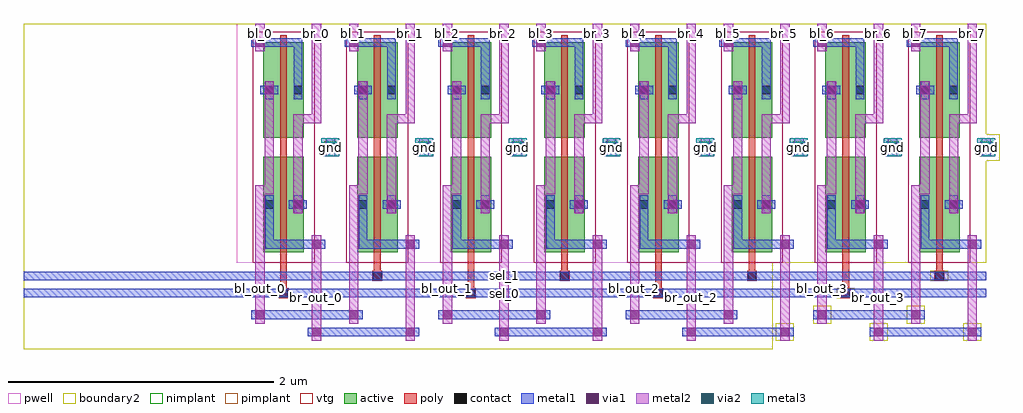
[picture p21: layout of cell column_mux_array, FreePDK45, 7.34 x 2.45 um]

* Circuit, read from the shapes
.subckt column_mux_array bl_0 bl_1 bl_2 bl_3 bl_4 bl_5 bl_6 bl_7 bl_out_0 bl_out_1 bl_out_2 bl_out_3 br_0 br_1 br_2 br_3 br_4 br_5 br_6 br_7 br_out_0 br_out_1 br_out_2 br_out_3 gnd sel_0 sel_1
M1 br_0 sel_0 br_out_0 gnd nfet w=0.72u l=0.05u
M2 bl_0 sel_0 bl_out_0 gnd nfet w=0.72u l=0.05u
M3 br_1 sel_1 br_out_0 gnd nfet w=0.72u l=0.05u
M4 bl_1 sel_1 bl_out_0 gnd nfet w=0.72u l=0.05u
M5 br_2 sel_0 br_out_1 gnd nfet w=0.72u l=0.05u
M6 bl_2 sel_0 bl_out_1 gnd nfet w=0.72u l=0.05u
M7 br_3 sel_1 br_out_1 gnd nfet w=0.72u l=0.05u
M8 bl_3 sel_1 bl_out_1 gnd nfet w=0.72u l=0.05u
M9 br_4 sel_0 br_out_2 gnd nfet w=0.72u l=0.05u
M10 bl_4 sel_0 bl_out_2 gnd nfet w=0.72u l=0.05u
M11 br_5 sel_1 br_out_2 gnd nfet w=0.72u l=0.05u
M12 bl_5 sel_1 bl_out_2 gnd nfet w=0.72u l=0.05u
M13 br_6 sel_0 br_out_3 gnd nfet w=0.72u l=0.05u
M14 bl_6 sel_0 bl_out_3 gnd nfet w=0.72u l=0.05u
M15 br_7 sel_1 br_out_3 gnd nfet w=0.72u l=0.05u
M16 bl_7 sel_1 bl_out_3 gnd nfet w=0.72u l=0.05u
.ends

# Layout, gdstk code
import gdstk
lib = gdstk.Library(unit=1e-6, precision=5e-10)
def R(c, l, rs):  # rectangles x0, y0, x1, y1
    for r in rs: c.add(gdstk.rectangle(r[:2], r[2:], *l))
def A(c, l, x, y, w, h, nx, ny, dx, dy):  # array of equal rectangles
    R(c, l, [(x+i*dx, y+j*dy, x+i*dx+w, y+j*dy+h) for i in range(nx) for j in range(ny)])
active = (1, 0)
pwell = (2, 0)
nimplant = (4, 0)
pimplant = (5, 0)
vtg = (6, 0)
poly = (9, 0)
contact = (10, 0)
metal1 = (11, 0)
via1 = (12, 0)
metal2 = (13, 0)
via2 = (14, 0)
metal3 = (15, 0)
boundary2 = (239, 0)

contact_10 = lib.new_cell('contact_10')
R(contact_10, active, [(0,0.0225,0.09,0.1125)])
R(contact_10, pwell, [(-0.055,-0.0325,0.145,0.1675)])
R(contact_10, nimplant, [(0,0.0225,0.09,0.1125)])
R(contact_10, contact, [(0.0125,0.035,0.0775,0.1)])
R(contact_10, metal1, [(0.0125,0,0.0775,0.135)])
R(contact_10, boundary2, [(-0.055,-0.0325,0.145,0.1675)])

nmos_m1_w0_720_sm1_dm1 = lib.new_cell('nmos_m1_w0_720_sm1_dm1')
R(nmos_m1_w0_720_sm1_dm1, active, [(0,0,0.305,0.72)])
R(nmos_m1_w0_720_sm1_dm1, pwell, [(-0.08,-0.08,0.385,0.8)])
R(nmos_m1_w0_720_sm1_dm1, nimplant, [(0,0,0.305,0.72)])
R(nmos_m1_w0_720_sm1_dm1, vtg, [(-0.08,-0.08,0.385,0.8)])
R(nmos_m1_w0_720_sm1_dm1, poly, [(0.1275,-0.055,0.1775,0.775), (0.1275,-0.055,0.1775,0.775)])
R(nmos_m1_w0_720_sm1_dm1, metal1, [(0.0125,0.2925,0.0775,0.4275), (0.2275,0.2925,0.2925,0.4275)])
R(nmos_m1_w0_720_sm1_dm1, boundary2, [(-0.08,-0.08,0.385,0.8)])
nmos_m1_w0_720_sm1_dm1.add(gdstk.Reference(contact_10, (0,0.2925)))
nmos_m1_w0_720_sm1_dm1.add(gdstk.Reference(contact_10, (0.215,0.2925)))
nmos_m1_w0_720_sm1_dm1.add(gdstk.Label('G', (0.1525,0.36), layer=9, texttype=0))
nmos_m1_w0_720_sm1_dm1.add(gdstk.Label('S', (0.045,0.36), layer=11, texttype=0))
nmos_m1_w0_720_sm1_dm1.add(gdstk.Label('D', (0.26,0.36), layer=11, texttype=0))

contact_17 = lib.new_cell('contact_17')
R(contact_17, metal1, [(0,0.035,0.135,0.1)])
R(contact_17, via1, [(0.035,0.035,0.1,0.1)])
R(contact_17, metal2, [(0.0325,0,0.1025,0.135)])
R(contact_17, boundary2, [(0,0,0.135,0.135)])

contact_23 = lib.new_cell('contact_23')
R(contact_23, active, [(0.0225,0,0.1125,0.09)])
R(contact_23, pwell, [(-0.0325,-0.055,0.1675,0.145)])
R(contact_23, pimplant, [(0.0225,0,0.1125,0.09)])
R(contact_23, contact, [(0.035,0.0125,0.1,0.0775)])
R(contact_23, metal1, [(0,0.0125,0.135,0.0775)])
R(contact_23, boundary2, [(-0.0325,-0.055,0.1675,0.145)])

contact_6 = lib.new_cell('contact_6')
R(contact_6, metal2, [(0.0325,0,0.1025,0.135)])
R(contact_6, via2, [(0.035,0.035,0.1,0.1)])
R(contact_6, metal3, [(0,0.0325,0.135,0.1025)])
R(contact_6, boundary2, [(0,0,0.135,0.135)])

column_mux = lib.new_cell('column_mux')
R(column_mux, pwell, [(0,0,0.705,1.8)])
R(column_mux, poly, [(0.3275,0.025,0.3775,0.08), (0.3275,0.8,0.3775,0.94)])
R(column_mux, metal1, [(0.2125,0.1075,0.2775,0.1725), (0.245,0.1075,0.6,0.1725), (0.2125,0.14,0.2775,0.44), (0.4275,1.3,0.4925,1.66), (0.14,1.6275,0.46,1.6925), (0.4275,1.6275,0.4925,1.6925)])
A(column_mux, metal2, 0.14, 0.515, 0.07, 0.07, 3, 1, 0.035, 0)
R(column_mux, metal2, [(0.14,0,0.21,0.14), (0.565,0,0.635,0.14), (0.14,0.14,0.21,0.55), (0.425,0.44,0.495,1.085), (0.21,0.55,0.28,1.3), (0.425,1.05,0.495,1.12), (0.46,1.05,0.6,1.12), (0.565,1.05,0.635,1.12), (0.565,1.085,0.635,1.66), (0.14,1.66,0.21,1.8), (0.565,1.66,0.635,1.8)])
R(column_mux, metal3, [(0.6375,0.8025,0.7725,0.9375)])
R(column_mux, boundary2, [(0,0,0.705,1.8)])
column_mux.add(gdstk.Reference(nmos_m1_w0_720_sm1_dm1, (0.2,0.08)))
column_mux.add(gdstk.Reference(nmos_m1_w0_720_sm1_dm1, (0.2,0.94)))
column_mux.add(gdstk.Reference(contact_17, (0.1075,1.5925)))
column_mux.add(gdstk.Reference(contact_17, (0.5325,0.0725)))
column_mux.add(gdstk.Reference(contact_17, (0.1775,1.2325)))
column_mux.add(gdstk.Reference(contact_17, (0.3925,0.3725)))
column_mux.add(gdstk.Reference(contact_23, (0.6375,0.825)))
column_mux.add(gdstk.Reference(contact_17, (0.6375,0.8025)))
column_mux.add(gdstk.Reference(contact_17, (0.6375,0.8025)))
column_mux.add(gdstk.Reference(contact_6, (0.6375,0.8025)))
column_mux.add(gdstk.Label('sel', (0.3525,0.0525), layer=9, texttype=0))
column_mux.add(gdstk.Label('bl', (0.175,1.73), layer=13, texttype=0))
column_mux.add(gdstk.Label('br', (0.6,1.73), layer=13, texttype=0))
column_mux.add(gdstk.Label('bl_out', (0.175,0.07), layer=13, texttype=0))
column_mux.add(gdstk.Label('br_out', (0.6,0.07), layer=13, texttype=0))
column_mux.add(gdstk.Label('gnd', (0.705,0.87), layer=15, texttype=0))

contact_24 = lib.new_cell('contact_24')
R(contact_24, poly, [(0.03,0,0.105,0.075)])
R(contact_24, contact, [(0.035,0.005,0.1,0.07)])
R(contact_24, metal1, [(0,0.005,0.135,0.07)])
R(contact_24, boundary2, [(0,0,0.135,0.075)])

contact_15 = lib.new_cell('contact_15')
R(contact_15, metal1, [(0,0.035,0.135,0.1)])
R(contact_15, via1, [(0.035,0.035,0.1,0.1)])
R(contact_15, metal2, [(0.0325,0,0.1025,0.135)])
R(contact_15, boundary2, [(0,0,0.135,0.135)])

column_mux_array = lib.new_cell('column_mux_array')
R(column_mux_array, pwell, [(1.605,0.65,7.245,2.45)])
A(column_mux_array, poly, 1.9325, 0.4225, 0.05, 0.2525, 4, 1, 1.41, 0)
A(column_mux_array, poly, 2.6375, 0.5525, 0.05, 0.1225, 4, 1, 1.41, 0)
A(column_mux_array, metal1, 2.205, 0.0975, 0.705, 0.065, 4, 1, 1.41, 0)
A(column_mux_array, metal1, 1.78, 0.2275, 0.705, 0.065, 4, 1, 1.41, 0)
R(column_mux_array, metal1, [(0,0.39,7.245,0.455), (0,0.52,7.245,0.585)])
A(column_mux_array, metal2, 2.17, 0.13, 0.07, 0.52, 8, 1, 0.705, 0)
A(column_mux_array, metal2, 1.745, 0.26, 0.07, 0.39, 8, 1, 0.705, 0)
R(column_mux_array, metal2, [(1.745,2.31,1.815,2.45), (2.17,2.31,2.24,2.45), (2.45,2.31,2.52,2.45), (2.875,2.31,2.945,2.45), (3.155,2.31,3.225,2.45), (3.58,2.31,3.65,2.45), (3.86,2.31,3.93,2.45), (4.285,2.31,4.355,2.45), (4.565,2.31,4.635,2.45), (4.99,2.31,5.06,2.45), (5.27,2.31,5.34,2.45), (5.695,2.31,5.765,2.45), (5.975,2.31,6.045,2.45), (6.4,2.31,6.47,2.45), (6.68,2.31,6.75,2.45), (7.105,2.31,7.175,2.45)])
A(column_mux_array, metal3, 2.2425, 1.4525, 0.135, 0.135, 8, 1, 0.705, 0)
R(column_mux_array, boundary2, [(0,0,5.64,2.45)])
column_mux_array.add(gdstk.Reference(column_mux, (1.605,0.65)))
column_mux_array.add(gdstk.Reference(column_mux, (2.31,0.65)))
column_mux_array.add(gdstk.Reference(column_mux, (3.015,0.65)))
column_mux_array.add(gdstk.Reference(column_mux, (3.72,0.65)))
column_mux_array.add(gdstk.Reference(column_mux, (4.425,0.65)))
column_mux_array.add(gdstk.Reference(column_mux, (5.13,0.65)))
column_mux_array.add(gdstk.Reference(column_mux, (5.835,0.65)))
column_mux_array.add(gdstk.Reference(column_mux, (6.54,0.65)))
column_mux_array.add(gdstk.Reference(contact_24, (1.89,0.385)))
column_mux_array.add(gdstk.Reference(contact_24, (2.595,0.515)))
column_mux_array.add(gdstk.Reference(contact_24, (3.3,0.385)))
column_mux_array.add(gdstk.Reference(contact_24, (4.005,0.515)))
column_mux_array.add(gdstk.Reference(contact_24, (4.71,0.385)))
column_mux_array.add(gdstk.Reference(contact_24, (5.415,0.515)))
column_mux_array.add(gdstk.Reference(contact_24, (6.12,0.385)))
column_mux_array.add(gdstk.Reference(contact_24, (6.825,0.515)))
column_mux_array.add(gdstk.Reference(contact_15, (1.7125,0.1925)))
column_mux_array.add(gdstk.Reference(contact_15, (2.1375,0.0625)))
column_mux_array.add(gdstk.Reference(contact_15, (2.4175,0.1925)))
column_mux_array.add(gdstk.Reference(contact_15, (2.8425,0.0625)))
column_mux_array.add(gdstk.Reference(contact_15, (3.1225,0.1925)))
column_mux_array.add(gdstk.Reference(contact_15, (3.5475,0.0625)))
column_mux_array.add(gdstk.Reference(contact_15, (3.8275,0.1925)))
column_mux_array.add(gdstk.Reference(contact_15, (4.2525,0.0625)))
column_mux_array.add(gdstk.Reference(contact_15, (4.5325,0.1925)))
column_mux_array.add(gdstk.Reference(contact_15, (4.9575,0.0625)))
column_mux_array.add(gdstk.Reference(contact_15, (5.2375,0.1925)))
column_mux_array.add(gdstk.Reference(contact_15, (5.6625,0.0625)))
column_mux_array.add(gdstk.Reference(contact_15, (5.9425,0.1925)))
column_mux_array.add(gdstk.Reference(contact_15, (6.3675,0.0625)))
column_mux_array.add(gdstk.Reference(contact_15, (6.6475,0.1925)))
column_mux_array.add(gdstk.Reference(contact_15, (7.0725,0.0625)))
column_mux_array.add(gdstk.Label('sel_0', (3.6225,0.4225), layer=11, texttype=0))
column_mux_array.add(gdstk.Label('sel_1', (3.6225,0.5525), layer=11, texttype=0))
column_mux_array.add(gdstk.Label('bl_out_0', (1.78,0.455), layer=13, texttype=0))
column_mux_array.add(gdstk.Label('br_out_0', (2.205,0.39), layer=13, texttype=0))
column_mux_array.add(gdstk.Label('bl_out_1', (3.19,0.455), layer=13, texttype=0))
column_mux_array.add(gdstk.Label('br_out_1', (3.615,0.39), layer=13, texttype=0))
column_mux_array.add(gdstk.Label('bl_out_2', (4.6,0.455), layer=13, texttype=0))
column_mux_array.add(gdstk.Label('br_out_2', (5.025,0.39), layer=13, texttype=0))
column_mux_array.add(gdstk.Label('bl_out_3', (6.01,0.455), layer=13, texttype=0))
column_mux_array.add(gdstk.Label('br_out_3', (6.435,0.39), layer=13, texttype=0))
column_mux_array.add(gdstk.Label('bl_0', (1.78,2.38), layer=13, texttype=0))
column_mux_array.add(gdstk.Label('br_0', (2.205,2.38), layer=13, texttype=0))
column_mux_array.add(gdstk.Label('bl_1', (2.485,2.38), layer=13, texttype=0))
column_mux_array.add(gdstk.Label('br_1', (2.91,2.38), layer=13, texttype=0))
column_mux_array.add(gdstk.Label('bl_2', (3.19,2.38), layer=13, texttype=0))
column_mux_array.add(gdstk.Label('br_2', (3.615,2.38), layer=13, texttype=0))
column_mux_array.add(gdstk.Label('bl_3', (3.895,2.38), layer=13, texttype=0))
column_mux_array.add(gdstk.Label('br_3', (4.32,2.38), layer=13, texttype=0))
column_mux_array.add(gdstk.Label('bl_4', (4.6,2.38), layer=13, texttype=0))
column_mux_array.add(gdstk.Label('br_4', (5.025,2.38), layer=13, texttype=0))
column_mux_array.add(gdstk.Label('bl_5', (5.305,2.38), layer=13, texttype=0))
column_mux_array.add(gdstk.Label('br_5', (5.73,2.38), layer=13, texttype=0))
column_mux_array.add(gdstk.Label('bl_6', (6.01,2.38), layer=13, texttype=0))
column_mux_array.add(gdstk.Label('br_6', (6.435,2.38), layer=13, texttype=0))
column_mux_array.add(gdstk.Label('bl_7', (6.715,2.38), layer=13, texttype=0))
column_mux_array.add(gdstk.Label('br_7', (7.14,2.38), layer=13, texttype=0))
column_mux_array.add(gdstk.Label('gnd', (7.245,1.52), layer=15, texttype=0))
column_mux_array.add(gdstk.Label('gnd', (6.54,1.52), layer=15, texttype=0))
column_mux_array.add(gdstk.Label('gnd', (3.72,1.52), layer=15, texttype=0))
column_mux_array.add(gdstk.Label('gnd', (2.31,1.52), layer=15, texttype=0))
column_mux_array.add(gdstk.Label('gnd', (3.015,1.52), layer=15, texttype=0))
column_mux_array.add(gdstk.Label('gnd', (5.835,1.52), layer=15, texttype=0))
column_mux_array.add(gdstk.Label('gnd', (4.425,1.52), layer=15, texttype=0))
column_mux_array.add(gdstk.Label('gnd', (5.13,1.52), layer=15, texttype=0))

lib.write_gds('column_mux_array.gds')
